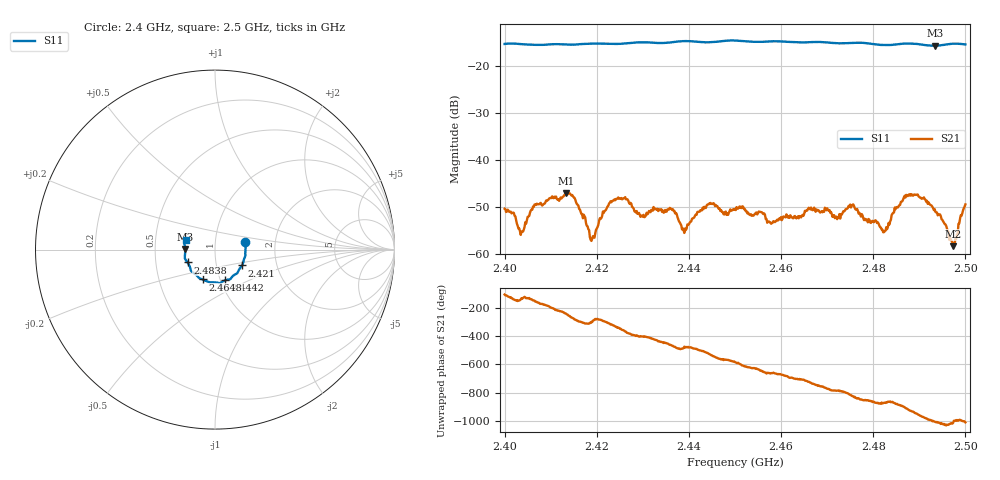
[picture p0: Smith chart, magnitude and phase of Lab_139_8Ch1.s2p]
# Hz S RI R 50
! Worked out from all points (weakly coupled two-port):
!   601 points, 2.4 GHz to 2.5 GHz, reference 50 ohm
!   highest |S21| = -46.95 dB at 2.4133 GHz (marker M1); lowest = -58.3 dB at 2.4973 GHz (marker M2)
!   lowest |S11| = -15.6 dB at 2.4935 GHz (marker M3), VSWR 1.40, Z = 35.8 + j0.207 ohm
!   |S11| at or under -10 dB: start of sweep to end of sweep
!   S12 and S22 are empty: the file has one direction only
!   S11 on the Smith chart (normalised r, x): 2.4 GHz: 1.40, +0.12; 2.421 GHz: 1.33, -0.24; 2.4442 GHz: 1.05, -0.37; 2.4648 GHz: 0.83, -0.28; 2.4838 GHz: 0.73, -0.11; 2.5 GHz: 0.72, +0.08
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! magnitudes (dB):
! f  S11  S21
! 2.4 GHz  -15.2  -50.3
! 2.4037 GHz  -15.3  -55.2
! 2.4067 GHz  -15.4  -49.4
! 2.4133 GHz  -15.3  -46.9
! 2.4167 GHz  -15.3  -51.4
! 2.419 GHz  -15.2  -56.7
! 2.421 GHz  -15.2  -52.3
! 2.4248 GHz  -15.2  -48.2
! 2.43 GHz  -14.9  -52.0
! 2.4333 GHz  -15.0  -50.8
! 2.439 GHz  -14.6  -55.4
! 2.4442 GHz  -14.9  -49.4
! 2.45 GHz  -14.5  -50.3
! 2.4648 GHz  -14.9  -51.8
! 2.4667 GHz  -14.8  -50.5
! 2.4753 GHz  -15.0  -49.7
! 2.4833 GHz  -15.5  -53.3
! 2.4838 GHz  -15.4  -52.6
! 2.4877 GHz  -15.2  -47.3
! 2.4935 GHz  -15.6  -51.0
! 2.4973 GHz  -15.2  -58.3
! 2.5 GHz  -15.3  -49.4
